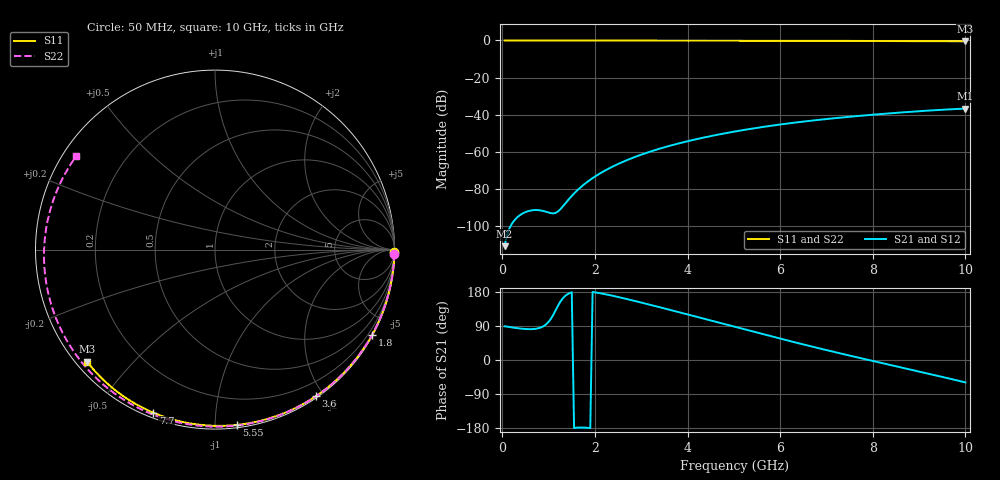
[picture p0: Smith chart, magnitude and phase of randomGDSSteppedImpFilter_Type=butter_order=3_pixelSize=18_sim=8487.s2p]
! freq	dB(S11)	phase(S11)	dB(S12)	phase(S12)
!  dB(S21)	phase(S21)	dB(S22)	phase(S22)
!S-par simulation data
#  GHz  S  DB  R 50
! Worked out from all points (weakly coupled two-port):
!   200 points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, 50 MHz to 10 GHz, reference 50 ohm
!   highest |S21| = -36.74 dB at 10 GHz (marker M1); lowest = -111.0 dB at 50 MHz (marker M2)
!   lowest |S11| = -0.5 dB at 10 GHz (marker M3), VSWR 36.99, Z = 1.54 - j18.8 ohm
!   |S11| at or under -10 dB: nowhere
!   |S22| runs from -0.6 to 0.0 dB; largest |S21 - S12| = 0
!   S11 on the Smith chart (normalised r, x): 50 MHz: open; 1.8 GHz: 0.03, -3.94; 3.6 GHz: 0.02, -1.90; 5.55 GHz: 0.02, -1.13; 7.7 GHz: 0.02, -0.69; 10 GHz: 0.03, -0.38
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0.05  -0.00 -0.8  -110.95 89.1  -110.95 89.1  -0.00 -1.3
0.4  -0.01 -6.4  -93.89 82.8  -93.89 82.8  -0.01 -10.2
0.8  -0.02 -12.8  -91.57 84.5  -91.57 84.5  -0.03 -20.3
1.2  -0.02 -19.1  -92.27 142.6  -92.27 142.6  -0.04 -30.3
1.65  -0.03 -26.1  -80.11 -178.2  -80.11 -178.2  -0.05 -41.3
1.75  -0.04 -27.7  -77.95 -178.2  -77.95 -178.2  -0.06 -43.7
1.8  -0.04 -28.5  -76.96 -178.5  -76.96 -178.5  -0.06 -44.9
2.1  -0.04 -33.1  -71.85 176.5  -71.85 176.5  -0.07 -52.1
2.5  -0.05 -39.2  -66.63 166.3  -66.63 166.3  -0.08 -61.4
2.9  -0.06 -45.2  -62.51 154.6  -62.51 154.6  -0.09 -70.6
3.4  -0.07 -52.6  -58.36 139.2  -58.36 139.2  -0.11 -81.7
3.6  -0.07 -55.6  -56.92 133.0  -56.92 133.0  -0.11 -86.1
4.3  -0.09 -65.6  -52.64 110.7  -52.64 110.7  -0.14 -100.9
5.05  -0.12 -76.1  -48.99 86.6  -48.99 86.6  -0.17 -116.1
5.55  -0.14 -82.9  -46.94 70.6  -46.94 70.6  -0.20 -126.0
6.15  -0.16 -90.9  -44.84 51.8  -44.84 51.8  -0.24 -137.6
6.7  -0.19 -98.0  -43.18 35.0  -43.18 35.0  -0.28 -148.2
7.2  -0.22 -104.4  -41.87 20.3  -41.87 20.3  -0.32 -157.7
7.7  -0.25 -110.7  -40.70 5.9  -40.70 5.9  -0.36 -167.3
8.35  -0.30 -118.7  -39.34 -12.2  -39.34 -12.2  -0.43 -179.9
9.2  -0.38 -129.0  -37.83 -36.0  -37.83 -36.0  -0.52 163.0
10  -0.47 -138.7  -36.74 -59.1  -36.74 -59.1  -0.61 145.9
